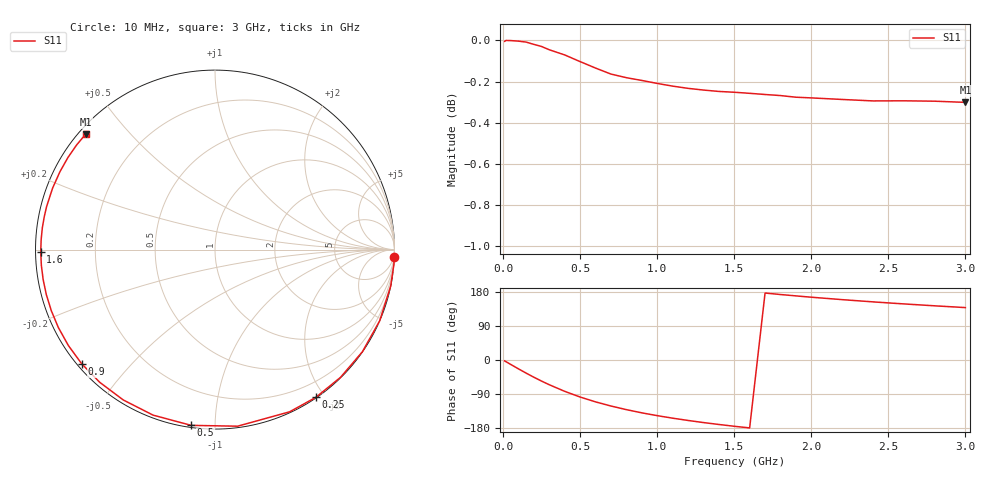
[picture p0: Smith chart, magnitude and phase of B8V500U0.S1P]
! SIEMENS Discrete & RF Semiconductors
! BBY53-03W
! Si Tuning Diode in SOD323
! VR = 0.5 V
! S-Parameters:  May  1997
# GHz  S  MA  R  50
!  f  S11
! GHz  MAG  ANG
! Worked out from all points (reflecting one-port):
!   30 points, 10 MHz to 3 GHz, reference 50 ohm
!   lowest |S11| = -0.3 dB at 3 GHz (marker M1), VSWR 57.70, Z = 0.992 + j19 ohm
!   phase of S11 starts at -2 deg and turns -219 deg over the sweep
!   S11 on the Smith chart (normalised r, x): 10 MHz: 1, -48; 250 MHz: 0.01, -1.89; 500 MHz: 0.01, -0.87; 900 MHz: 0.01, -0.37; 1.6 GHz: 0.01, -0.01; 3 GHz: 0.02, +0.38
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0.01  0.9995 -2.4
0.05  0.9999 -11.8
0.1  0.9996 -23.4
0.15  0.9991 -34.7
0.2  0.9978 -45.5
0.25  0.9966 -55.7
0.3  0.9948 -65.3
0.4  0.9919 -82.7
0.5  0.9882 -97.7
0.6  0.9847 -110.5
0.7  0.9814 -121.4
0.8  0.9794 -131.0
0.9  0.9779 -139.4
1  0.9762 -146.8
1.1  0.9748 -153.5
1.2  0.9735 -159.5
1.3  0.9726 -165.1
1.4  0.9719 -170.1
1.5  0.9714 -174.9
1.6  0.9708 -179.2
1.8  0.9696 172.8
1.9  0.9687 169.2
2  0.9684 165.7
2.2  0.9675 159.3
2.4  0.9667 153.4
2.6  0.9668 148.0
2.8  0.9666 143.0
3  0.9659 138.3
